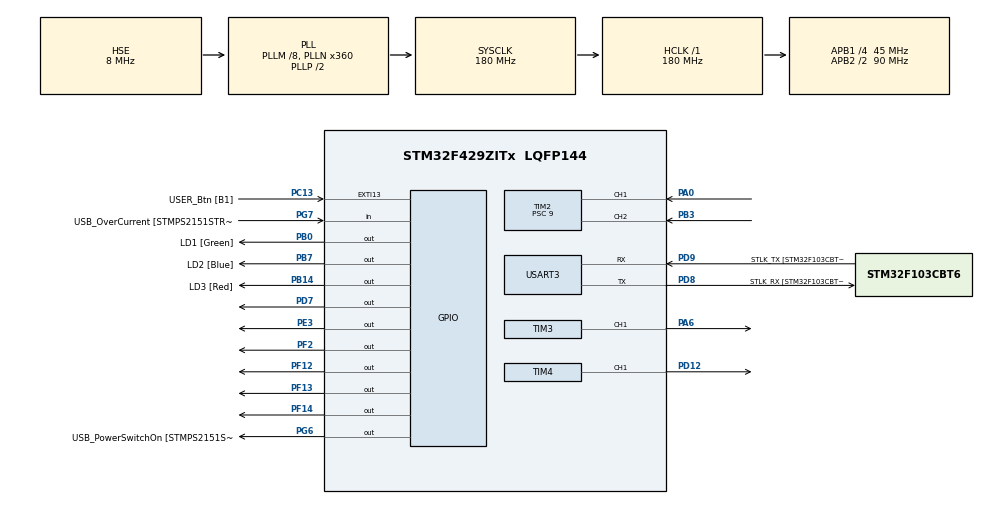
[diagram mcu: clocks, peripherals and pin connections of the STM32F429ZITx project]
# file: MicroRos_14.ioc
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Dma.Request0=USART3_RX
Dma.Request1=USART3_TX
Dma.USART3_RX.0.Direction=DMA_PERIPH_TO_MEMORY
Dma.USART3_RX.0.FIFOMode=DMA_FIFOMODE_DISABLE
Dma.USART3_RX.0.Instance=DMA1_Stream1
Dma.USART3_RX.0.MemDataAlignment=DMA_MDATAALIGN_BYTE
Dma.USART3_RX.0.MemInc=DMA_MINC_ENABLE
Dma.USART3_RX.0.Mode=DMA_CIRCULAR
Dma.USART3_RX.0.PeriphDataAlignment=DMA_PDATAALIGN_BYTE
Dma.USART3_RX.0.PeriphInc=DMA_PINC_DISABLE
Dma.USART3_RX.0.Priority=DMA_PRIORITY_VERY_HIGH
Dma.USART3_TX.1.Direction=DMA_MEMORY_TO_PERIPH
Dma.USART3_TX.1.FIFOMode=DMA_FIFOMODE_DISABLE
Dma.USART3_TX.1.Instance=DMA1_Stream3
Dma.USART3_TX.1.MemDataAlignment=DMA_MDATAALIGN_BYTE
Dma.USART3_TX.1.MemInc=DMA_MINC_ENABLE
Dma.USART3_TX.1.Mode=DMA_NORMAL
Dma.USART3_TX.1.PeriphDataAlignment=DMA_PDATAALIGN_BYTE
Dma.USART3_TX.1.PeriphInc=DMA_PINC_DISABLE
Dma.USART3_TX.1.Priority=DMA_PRIORITY_VERY_HIGH
FREERTOS.Tasks01=defaultTask,24,3000,StartDefaultTask,Default,NULL,Static,defaultTaskBuffer,defaultTaskControlBlock
Mcu.Family=STM32F4
Mcu.Name=STM32F429ZITx
Mcu.Package=LQFP144
NVIC.DMA1_Stream1_IRQn=true\:5\:0\:false\:false\:true\:true\:false\:true\:true
NVIC.DMA1_Stream3_IRQn=true\:5\:0\:false\:false\:true\:true\:false\:true\:true
NVIC.PriorityGroup=NVIC_PRIORITYGROUP_4
NVIC.TIM1_UP_TIM10_IRQn=true\:15\:0\:false\:false\:true\:false\:false\:true\:true
NVIC.TIM2_IRQn=true\:5\:0\:false\:false\:true\:true\:true\:true\:true
NVIC.TIM3_IRQn=true\:5\:0\:false\:false\:true\:true\:true\:true\:true
NVIC.TimeBase=TIM1_UP_TIM10_IRQn
NVIC.TimeBaseIP=TIM1
NVIC.USART3_IRQn=true\:5\:0\:false\:false\:true\:true\:true\:true\:true
PA0/WKUP.Signal=S_TIM2_CH1_ETR
PA1.GPIO_Label=RMII_REF_CLK [LAN8742A-CZ-TR_REFCLK0]
PA1.Signal=ETH_REF_CLK
PA10.GPIO_Label=USB_ID
PA10.Signal=USB_OTG_FS_ID
PA11.GPIO_Label=USB_DM
PA11.Signal=USB_OTG_FS_DM
PA12.GPIO_Label=USB_DP
PA12.Signal=USB_OTG_FS_DP
PA13.GPIO_Label=TMS
PA13.Mode=Serial_Wire
PA13.Signal=SYS_JTMS-SWDIO
PA14.GPIO_Label=TCK
PA14.Mode=Serial_Wire
PA14.Signal=SYS_JTCK-SWCLK
PA2.GPIO_Label=RMII_MDIO [LAN8742A-CZ-TR_MDIO]
PA2.Signal=ETH_MDIO
PA6.Signal=S_TIM3_CH1
PA7.GPIO_Label=RMII_CRS_DV [LAN8742A-CZ-TR_CRS_DV]
PA7.Signal=ETH_CRS_DV
PA8.GPIO_Label=USB_SOF [TP1]
PA8.Signal=USB_OTG_FS_SOF
PA9.GPIO_Label=USB_VBUS
PA9.Signal=USB_OTG_FS_VBUS
PB0.GPIO_Label=LD1 [Green]
PB0.Signal=GPIO_Output
PB13.GPIO_Label=RMII_TXD1 [LAN8742A-CZ-TR_TXD1]
PB13.Signal=ETH_TXD1
PB14.GPIO_Label=LD3 [Red]
PB14.Signal=GPIO_Output
PB3.Signal=S_TIM2_CH2
PB7.GPIO_Label=LD2 [Blue]
PB7.Signal=GPIO_Output
PC1.GPIO_Label=RMII_MDC [LAN8742A-CZ-TR_MDC]
PC1.Signal=ETH_MDC
PC13.GPIO_Label=USER_Btn [B1]
PC13.Signal=GPXTI13
PC14/OSC32_IN.Signal=RCC_OSC32_IN
PC15/OSC32_OUT.Signal=RCC_OSC32_OUT
PC4.GPIO_Label=RMII_RXD0 [LAN8742A-CZ-TR_RXD0]
PC4.Signal=ETH_RXD0
PC5.GPIO_Label=RMII_RXD1 [LAN8742A-CZ-TR_RXD1]
PC5.Signal=ETH_RXD1
PD12.Signal=S_TIM4_CH1
PD7.GPIO_ModeDefaultOutputPP=GPIO_MODE_OUTPUT_PP
PD7.GPIO_PuPd=GPIO_PULLUP
PD7.GPIO_Speed=GPIO_SPEED_FREQ_HIGH
PD7.PinState=GPIO_PIN_RESET
PD7.Signal=GPIO_Output
PD8.GPIO_Label=STLK_RX [STM32F103CBT6_PA3]
PD8.Mode=Asynchronous
PD8.Signal=USART3_TX
PD9.GPIO_Label=STLK_TX [STM32F103CBT6_PA2]
PD9.Mode=Asynchronous
PD9.Signal=USART3_RX
PE3.GPIO_ModeDefaultOutputPP=GPIO_MODE_OUTPUT_PP
PE3.GPIO_PuPd=GPIO_PULLUP
PE3.GPIO_Speed=GPIO_SPEED_FREQ_HIGH
PE3.PinState=GPIO_PIN_RESET
PE3.Signal=GPIO_Output
PF12.GPIO_ModeDefaultOutputPP=GPIO_MODE_OUTPUT_PP
PF12.GPIO_PuPd=GPIO_PULLUP
PF12.GPIO_Speed=GPIO_SPEED_FREQ_HIGH
PF12.PinState=GPIO_PIN_RESET
PF12.Signal=GPIO_Output
PF13.GPIO_ModeDefaultOutputPP=GPIO_MODE_OUTPUT_PP
PF13.GPIO_PuPd=GPIO_PULLUP
PF13.GPIO_Speed=GPIO_SPEED_FREQ_HIGH
PF13.PinState=GPIO_PIN_RESET
PF13.Signal=GPIO_Output
PF14.GPIO_ModeDefaultOutputPP=GPIO_MODE_OUTPUT_PP
PF14.GPIO_PuPd=GPIO_PULLUP
PF14.GPIO_Speed=GPIO_SPEED_FREQ_HIGH
PF14.PinState=GPIO_PIN_RESET
PF14.Signal=GPIO_Output
PF2.GPIO_ModeDefaultOutputPP=GPIO_MODE_OUTPUT_PP
PF2.GPIO_PuPd=GPIO_PULLUP
PF2.GPIO_Speed=GPIO_SPEED_FREQ_HIGH
PF2.PinState=GPIO_PIN_RESET
PF2.Signal=GPIO_Output
PG11.GPIO_Label=RMII_TX_EN [LAN8742A-CZ-TR_TXEN]
PG11.Signal=ETH_TX_EN
PG13.GPIO_Label=RMII_TXD0 [LAN8742A-CZ-TR_TXD0]
PG13.Signal=ETH_TXD0
PG6.GPIO_Label=USB_PowerSwitchOn [STMPS2151STR_EN]
PG6.Signal=GPIO_Output
PG7.GPIO_Label=USB_OverCurrent [STMPS2151STR_FAULT]
PG7.Signal=GPIO_Input
PH0/OSC_IN.GPIO_Label=MCO [STM32F103CBT6_PA8]
PH0/OSC_IN.Mode=HSE-External-Oscillator
PH0/OSC_IN.Signal=RCC_OSC_IN
PH1/OSC_OUT.Mode=HSE-External-Oscillator
PH1/OSC_OUT.Signal=RCC_OSC_OUT
ProjectManager.HeapSize=0x200
ProjectManager.StackSize=0x400
ProjectManager.TargetToolchain=STM32CubeIDE
RCC.48MHZClocksFreq_Value=90000000
RCC.AHBFreq_Value=180000000
RCC.APB1CLKDivider=RCC_HCLK_DIV4
RCC.APB1Freq_Value=45000000
RCC.APB1TimFreq_Value=90000000
RCC.APB2CLKDivider=RCC_HCLK_DIV2
RCC.APB2Freq_Value=90000000
RCC.APB2TimFreq_Value=180000000
RCC.CortexFreq_Value=180000000
RCC.HCLKFreq_Value=180000000
RCC.HSE_VALUE=8000000
RCC.HSI_VALUE=16000000
RCC.LSE_VALUE=32768
RCC.PLLM=8
RCC.PLLMUL=RCC_PLL_MUL9
RCC.PLLN=360
RCC.PLLSourceVirtual=RCC_PLLSOURCE_HSE
RCC.PRESCALERUSB=RCC_USBCLKSOURCE_PLL_DIV1_5
RCC.SYSCLKFreq_VALUE=180000000
RCC.SYSCLKSource=RCC_SYSCLKSOURCE_PLLCLK
RCC.SYSCLKSourceVirtual=RCC_SYSCLKSOURCE_PLLCLK
RCC.USBFreq_Value=48000000
RCC.VCOOutputFreq_Value=360000000
SH.S_TIM2_CH1_ETR.0=TIM2_CH1,Input_Capture1_from_TI1
SH.S_TIM2_CH2.0=TIM2_CH2,Input_Capture2_from_TI2
SH.S_TIM3_CH1.0=TIM3_CH1,PWM Generation1 CH1
SH.S_TIM4_CH1.0=TIM4_CH1,PWM Generation1 CH1
TIM2.Channel-Input_Capture1_from_TI1=TIM_CHANNEL_1
TIM2.Channel-Input_Capture2_from_TI2=TIM_CHANNEL_2
TIM2.Period=100
TIM2.Prescaler=9
TIM3.Channel-PWM\ Generation1\ CH1=TIM_CHANNEL_1
TIM3.Period=99
TIM3.Prescaler=89
TIM3.Pulse-PWM\ Generation1\ CH1=30
TIM4.Channel-PWM\ Generation1\ CH1=TIM_CHANNEL_1
TIM4.Period=99
TIM4.Prescaler=89
TIM4.Pulse-PWM\ Generation1\ CH1=30
TIM9.Period=9999
TIM9.Prescaler=8999
USART3.VirtualMode=VM_ASYNC
VP_FREERTOS_VS_CMSIS_V2.Mode=CMSIS_V2
VP_SYS_VS_tim1.Mode=TIM1
VP_TIM3_VS_ClockSourceINT.Mode=Internal
VP_TIM4_VS_ClockSourceINT.Mode=Internal
VP_TIM9_VS_ClockSourceINT.Mode=Internal
board=NUCLEO-F429ZI

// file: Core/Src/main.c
/* USER CODE BEGIN Header */
/**
  ******************************************************************************
  * @file           : main.c
  * @brief          : Main program body
  ******************************************************************************
  * @attention
  *
  * Copyright (c) 2024 STMicroelectronics.
  * All rights reserved.
  *
  * This software is licensed under terms that can be found in the LICENSE file
  * in the root directory of this software component.
  * If no LICENSE file comes with this software, it is provided AS-IS.
  *
  ******************************************************************************
  */
/* USER CODE END Header */
#include "main.h"
#include "cmsis_os.h"
#include "dma.h"
#include "tim.h"
#include "usart.h"
#include "gpio.h"

/* USER CODE BEGIN PD */

#define TxBufferSize	(countof(TxBuffer) - 1)
#define RxBufferSize	0xFF
#define countof(a)		(sizeof(a) / sizeof(*(a)))

/* USER CODE END PD */

/* USER CODE BEGIN PV */

// asdfasdf
uint8_t TxBuffer[] = "\n\rUART Example 1 (Transmission Success !! )\n\r\n\r";
uint8_t RxBuffer[RxBufferSize];

/*
int m1_hall=0, m2_hall=0;

int m1_rev=0, m2_rev=0;
int m1_deg=0, m2_deg=0;
int m1_deg_10=0, m2_deg_10=0;
int m1_deg_10_p=0, m2_deg_10_p=0;
int m1_deg_1_10=0, m2_deg_1_10=0;
//float m1_deg=0, m2_deg=0;
//float m1_deg_10=0, m2_deg_10=0;
//float m1_deg_1_10=0, m2_deg_1_10=0;
int m1_rpm=0, m2_rpm=0;
int m1_rpm_p=0, m2_rpm_p=0;
int m1_rpm_p_10=0, m2_rpm_p_10=0;

int test_count=0;

int count_sec = 0;
*/

/* USER CODE END PV */

void SystemClock_Config(void);
void MX_FREERTOS_Init(void);
/* USER CODE BEGIN PFP */

void LED_OnOff(int, int);

/* Usart printf() */
#ifdef __cplusplus
extern "C" int _write(int32_t file, uint8_t *ptr, int32_t len) {
#else
int _write(int32_t file, uint8_t *ptr, int32_t len) {
#endif
	if( HAL_UART_Transmit(&huart3, ptr, len, len) == HAL_OK ) return len;
	else return 0;
}

/* USER CODE END PFP */

int main(void)
{

  /* MCU Configuration--------------------------------------------------------*/

  /* Reset of all peripherals, Initializes the Flash interface and the Systick. */
  HAL_Init();

  /* Configure the system clock */
  SystemClock_Config();

  /* Initialize all configured peripherals */
  MX_GPIO_Init();
  MX_DMA_Init();
  MX_USART3_UART_Init();
  MX_TIM2_Init();
  MX_TIM3_Init();
  MX_TIM4_Init();
  MX_TIM9_Init();
  /* USER CODE BEGIN 2 */

//  LED_OnOff(LED_ALL, 500);
  HAL_TIM_Base_Start_IT(&htim9);

  HAL_TIM_Base_Start_IT(&htim3);
  HAL_TIM_PWM_Start(&htim3, TIM_CHANNEL_1);
  HAL_TIM_Base_Start_IT(&htim4);
  HAL_TIM_PWM_Start(&htim4, TIM_CHANNEL_1);

  HAL_TIM_Base_Start_IT(&htim2);
  HAL_TIM_IC_Start_IT(&htim2, TIM_CHANNEL_1);
  HAL_TIM_IC_Start_IT(&htim2, TIM_CHANNEL_2);

  HAL_UART_Transmit(&huart3, (uint8_t*)TxBuffer, TxBufferSize , 0xFFFF);

  HAL_GPIO_WritePin(GPIOF, GPIO_PIN_12, RESET);	// Motor1 DIR - CCW
  HAL_GPIO_WritePin(GPIOF, GPIO_PIN_13, RESET);	// Motor1 RUN/BRK - RUN
  HAL_GPIO_WritePin(GPIOF, GPIO_PIN_14, RESET);	// Motor1 START/STOP - START

  HAL_GPIO_WritePin(GPIOF, GPIO_PIN_2, RESET);	// Motor2 DIR - CCW
  HAL_GPIO_WritePin(GPIOD, GPIO_PIN_7, RESET);	// Motor2 RUN/BRK - RUN
  HAL_GPIO_WritePin(GPIOE, GPIO_PIN_3, RESET);	// Motor2 START/STOP - START

/* Init Settings */
/*	  HAL_GPIO_WritePin(GPIOF, GPIO_PIN_12, SET);	// Motor1 DIR - CW
	  HAL_GPIO_WritePin(GPIOF, GPIO_PIN_13, SET);	// Motor1 RUN/BRK - BRK
	  HAL_GPIO_WritePin(GPIOF, GPIO_PIN_14, SET);	// Motor1 START/STOP - STOP

	  HAL_GPIO_WritePin(GPIOF, GPIO_PIN_2, SET);	// Motor2 DIR - CW
	  HAL_GPIO_WritePin(GPIOD, GPIO_PIN_7, SET);	// Motor2 RUN/BRK - BRK
	  HAL_GPIO_WritePin(GPIOE, GPIO_PIN_3, SET);	// Motor2 START/STOP - STOP
*/
/* First movement */
/*	  HAL_GPIO_WritePin(GPIOF, GPIO_PIN_13, RESET);	// Motor1 RUN/BRK - RUN
  	  HAL_GPIO_WritePin(GPIOF, GPIO_PIN_14, RESET);	// Motor1 START/STOP - START
  	  HAL_GPIO_WritePin(GPIOD, GPIO_PIN_7, RESET);	// Motor2 RUN/BRK - RUN
  	  HAL_GPIO_WritePin(GPIOE, GPIO_PIN_3, RESET);	// Motor2 START/STOP - START

  	  HAL_Delay(5000);

  	  HAL_GPIO_WritePin(GPIOF, GPIO_PIN_13, SET);	// Motor1 RUN/BRK - BRK
  	  HAL_GPIO_WritePin(GPIOD, GPIO_PIN_7, SET);	// Motor2 RUN/BRK - BRK

  	  HAL_Delay(5000);

  	  HAL_GPIO_WritePin(GPIOF, GPIO_PIN_13, RESET);	// Motor1 RUN/BRK - RUN
  	  HAL_GPIO_WritePin(GPIOD, GPIO_PIN_7, RESET);	// Motor2 RUN/BRK - RUN

  	  HAL_Delay(5000);

  	  HAL_GPIO_WritePin(GPIOF, GPIO_PIN_14, SET);	// Motor1 START/STOP - STOP
  	  HAL_GPIO_WritePin(GPIOE, GPIO_PIN_3, SET);	// Motor2 START/STOP - STOP

  	  HAL_Delay(5000);
*/
 /* Second movement */
/*	  HAL_GPIO_WritePin(GPIOF, GPIO_PIN_12, RESET);	// Motor1 DIR - CCW
	  HAL_GPIO_WritePin(GPIOF, GPIO_PIN_2, RESET);	// Motor2 DIR - CCW
	  HAL_GPIO_WritePin(GPIOF, GPIO_PIN_13, RESET);	// Motor1 RUN/BRK - RUN
	  HAL_GPIO_WritePin(GPIOF, GPIO_PIN_14, RESET);	// Motor1 START/STOP - START
	  HAL_GPIO_WritePin(GPIOD, GPIO_PIN_7, RESET);	// Motor2 RUN/BRK - RUN
	  HAL_GPIO_WritePin(GPIOE, GPIO_PIN_3, RESET);	// Motor2 START/STOP - START

	  HAL_Delay(5000);

	  HAL_GPIO_WritePin(GPIOF, GPIO_PIN_13, SET);	// Motor1 RUN/BRK - BRK
	  HAL_GPIO_WritePin(GPIOD, GPIO_PIN_7, SET);	// Motor2 RUN/BRK - BRK

	  HAL_Delay(5000);

	  HAL_GPIO_WritePin(GPIOF, GPIO_PIN_13, RESET);	// Motor1 RUN/BRK - RUN
	  HAL_GPIO_WritePin(GPIOD, GPIO_PIN_7, RESET);	// Motor2 RUN/BRK - RUN

	  HAL_Delay(5000);

	  HAL_GPIO_WritePin(GPIOF, GPIO_PIN_14, SET);	// Motor1 START/STOP - STOP
	  HAL_GPIO_WritePin(GPIOE, GPIO_PIN_3, SET);	// Motor2 START/STOP - STOP

	  HAL_Delay(5000);*/

  /* USER CODE END 2 */

  /* Init scheduler */
  osKernelInitialize();

  /* Call init function for freertos objects (in freertos.c) */
  MX_FREERTOS_Init();

  /* Start scheduler */
  osKernelStart();

  /* We should never get here as control is now taken by the scheduler */
  /* Infinite loop */
  /* USER CODE BEGIN WHILE */
  while (1)
  {
/*
	  HAL_GPIO_WritePin(GPIOF, GPIO_PIN_13, RESET);	// Motor1 RUN/BRK - RUN
	  HAL_GPIO_WritePin(GPIOF, GPIO_PIN_14, RESET);	// Motor1 START/STOP - START
	  HAL_GPIO_WritePin(GPIOD, GPIO_PIN_7, RESET);	// Motor2 RUN/BRK - RUN
	  HAL_GPIO_WritePin(GPIOE, GPIO_PIN_3, RESET);	// Motor2 START/STOP - START

    osDelay(5000);
//	  HAL_Delay(5000);

	  HAL_GPIO_WritePin(GPIOF, GPIO_PIN_13, SET);	// Motor1 RUN/BRK - BRK
	  HAL_GPIO_WritePin(GPIOD, GPIO_PIN_7, SET);	// Motor2 RUN/BRK - BRK

    osDelay(5000);
//	  HAL_Delay(5000);

	  HAL_GPIO_WritePin(GPIOF, GPIO_PIN_13, RESET);	// Motor1 RUN/BRK - RUN
	  HAL_GPIO_WritePin(GPIOD, GPIO_PIN_7, RESET);	// Motor2 RUN/BRK - RUN

    osDelay(5000);
//	  HAL_Delay(5000);

	  HAL_GPIO_WritePin(GPIOF, GPIO_PIN_14, SET);	// Motor1 START/STOP - STOP
	  HAL_GPIO_WritePin(GPIOE, GPIO_PIN_3, SET);	// Motor2 START/STOP - STOP

    osDelay(5000);
//	  HAL_Delay(5000);
*/

/*	  printf("Degree: %d \n", m1_deg); // ?��?��?��?��
	  printf("Revolutions: %d \n", m1_rev);
	  printf("Revolutions per Minute: %d \n", m1_rpm);ddddd
	  printf("\n");*/

/*	  printf("Time: %d \n", count_sec);
	  printf("Hall: %d \n", m1_hall);
	  printf("Degree: %d.%d \n", m1_deg, m1_deg_1_10);
	  printf("Revolutions: %d \n", m1_rev);
	  printf("Revolutions per Minute: %d \n", m1_rpm);
	  printf("\n");

	  HAL_Delay(1000);
*/
    /* USER CODE END WHILE */

  }
}

void SystemClock_Config(void)
{
  RCC_OscInitTypeDef RCC_OscInitStruct = {0};
  RCC_ClkInitTypeDef RCC_ClkInitStruct = {0};

  /** Configure the main internal regulator output voltage
  */
  __HAL_RCC_PWR_CLK_ENABLE();
  __HAL_PWR_VOLTAGESCALING_CONFIG(PWR_REGULATOR_VOLTAGE_SCALE1);

  /** Initializes the RCC Oscillators according to the specified parameters
  * in the RCC_OscInitTypeDef structure.
  */
  RCC_OscInitStruct.OscillatorType = RCC_OSCILLATORTYPE_HSE;
  RCC_OscInitStruct.HSEState = RCC_HSE_ON;
  RCC_OscInitStruct.PLL.PLLState = RCC_PLL_ON;
  RCC_OscInitStruct.PLL.PLLSource = RCC_PLLSOURCE_HSE;
  RCC_OscInitStruct.PLL.PLLM = 8;
  RCC_OscInitStruct.PLL.PLLN = 360;
  RCC_OscInitStruct.PLL.PLLP = RCC_PLLP_DIV2;
  RCC_OscInitStruct.PLL.PLLQ = 4;
  if (HAL_RCC_OscConfig(&RCC_OscInitStruct) != HAL_OK)
  {
    Error_Handler();
  }

  /** Activate the Over-Drive mode
  */
  if (HAL_PWREx_EnableOverDrive() != HAL_OK)
  {
    Error_Handler();
  }

  /** Initializes the CPU, AHB and APB buses clocks
  */
  RCC_ClkInitStruct.ClockType = RCC_CLOCKTYPE_HCLK|RCC_CLOCKTYPE_SYSCLK
                              |RCC_CLOCKTYPE_PCLK1|RCC_CLOCKTYPE_PCLK2;
  RCC_ClkInitStruct.SYSCLKSource = RCC_SYSCLKSOURCE_PLLCLK;
  RCC_ClkInitStruct.AHBCLKDivider = RCC_SYSCLK_DIV1;
  RCC_ClkInitStruct.APB1CLKDivider = RCC_HCLK_DIV4;
  RCC_ClkInitStruct.APB2CLKDivider = RCC_HCLK_DIV2;

  if (HAL_RCC_ClockConfig(&RCC_ClkInitStruct, FLASH_LATENCY_5) != HAL_OK)
  {
    Error_Handler();
  }
}

void HAL_TIM_PeriodElapsedCallback(TIM_HandleTypeDef *htim)
{
  if (htim->Instance == TIM1) {
    HAL_IncTick();
  }
}

void Error_Handler(void)
{
  __disable_irq();
  while (1)
  {
  }
}

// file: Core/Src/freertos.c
/* USER CODE BEGIN Header */
/**
  *********************  *********************************************************
  * File Name          : freertos.c
  * Description        : Code for freertos applications
  ******************************************************************************
  * @attention
  *
  * Copyright (c) 2024 STMicroelectronics.
  * All rights reserved.
  *
  * This software is licensed under terms that can be found in the LICENSE file
  * in the root directory of this software component.
  * If no LICENSE file comes with this software, it is provided AS-IS.
  *
  ******************************************************************************
  */
/* USER CODE END Header */

#include "FreeRTOS.h"
#include "task.h"
#include "main.h"
#include "cmsis_os.h"

/* USER CODE BEGIN Includes */
#include <stdbool.h>
#include <rcl/rcl.h>
#include <rcl/error_handling.h>
#include <rclc/rclc.h>
#include <rclc/executor.h>
#include <uxr/client/transport.h>
#include <rmw_microxrcedds_c/config.h>
#include <rmw_microros/rmw_microros.h>

#include <std_msgs/msg/int32.h>
#include <std_msgs/msg/string.h>

#include "usart.h"
/* USER CODE END Includes */

typedef StaticTask_t osStaticThreadDef_t;

/* USER CODE BEGIN Variables */

char Run_State = 'U';
char Motor_State = 'P';
char Run_Dir = 'F';

int m1_hall=0, m2_hall=0;

int m1_rev=0, m2_rev=0;
int m1_deg=0, m2_deg=0;
int m1_deg_10=0, m2_deg_10=0;
int m1_deg_10_p=0, m2_deg_10_p=0;
int m1_deg_1_10=0, m2_deg_1_10=0;
//float m1_deg=0, m2_deg=0;
//float m1_deg_10=0, m2_deg_10=0;
//float m1_deg_1_10=0, m2_deg_1_10=0;
int m1_rpm=0, m2_rpm=0;
int m1_rpm_p=0, m2_rpm_p=0;
int m1_rpm_p_10=0, m2_rpm_p_10=0;

//std_msgs__msg__Int32 msg;
int hall1 = 0, hall2 = 0;

int count_sec = 0;

/* USER CODE END Variables */
/* Definitions for defaultTask */
osThreadId_t defaultTaskHandle;
uint32_t defaultTaskBuffer[ 3000 ];
osStaticThreadDef_t defaultTaskControlBlock;
const osThreadAttr_t defaultTask_attributes = {
  .name = "defaultTask",
  .cb_mem = &defaultTaskControlBlock,
  .cb_size = sizeof(defaultTaskControlBlock),
  .stack_mem = &defaultTaskBuffer[0],
  .stack_size = sizeof(defaultTaskBuffer),
  .priority = (osPriority_t) osPriorityNormal,
};

/* USER CODE BEGIN FunctionPrototypes */
bool cubemx_transport_open(struct uxrCustomTransport * transport);
bool cubemx_transport_close(struct uxrCustomTransport * transport);
size_t cubemx_transport_write(struct uxrCustomTransport* transport, const uint8_t * buf, size_t len, uint8_t * err);
size_t cubemx_transport_read(struct uxrCustomTransport* transport, uint8_t* buf, size_t len, int timeout, uint8_t* err);

void * microros_allocate(size_t size, void * state);
void microros_deallocate(void * pointer, void * state);
void * microros_reallocate(void * pointer, size_t size, void * state);
void * microros_zero_allocate(size_t number_of_elements, size_t size_of_element, void * state);

void messageCallback(const void *msgin);
void messageCallback_test1(const void *msgin);
void messageCallback_test2(const void *msgin);

//my motor functions
void RUN_DIR(char);
void RUN_RB(char);
void MOTOR_SS(char);

/* USER CODE END FunctionPrototypes */

void StartDefaultTask(void *argument);

void MX_FREERTOS_Init(void); /* (MISRA C 2004 rule 8.1) */

void MX_FREERTOS_Init(void) {

  /* Create the thread(s) */
  /* creation of defaultTask */
  defaultTaskHandle = osThreadNew(StartDefaultTask, NULL, &defaultTask_attributes);

}

void StartDefaultTask(void *argument)
{
  /* USER CODE BEGIN StartDefaultTask */
  /* USER CODE BEGIN 5 */

  // micro-ROS configuration

  rmw_uros_set_custom_transport(
    true,
    (void *) &huart3,
    cubemx_transport_open,
    cubemx_transport_close,
    cubemx_transport_write,
    cubemx_transport_read);

  rcl_allocator_t freeRTOS_allocator = rcutils_get_zero_initialized_allocator();
  freeRTOS_allocator.allocate = microros_allocate;
  freeRTOS_allocator.deallocate = microros_deallocate;
  freeRTOS_allocator.reallocate = microros_reallocate;
  freeRTOS_allocator.zero_allocate =  microros_zero_allocate;

  if (!rcutils_set_default_allocator(&freeRTOS_allocator)) {
      printf("Error on default allocators (line %d)\n", __LINE__);
  }

  // micro-ROS app

  rcl_publisher_t publisher;
  std_msgs__msg__Int32 msg;
//test
  rcl_publisher_t publisher_test;
  std_msgs__msg__Int32_test1 msg_test;

  rcl_subscription_t subscriber_test1;
  std_msgs__msg__Int32_test2 submsg_test1;

  rcl_subscription_t subscriber_test2;
  std_msgs__msg__Int32_test3 submsg_test2;
//
  rcl_publisher_t publisher_1;
  std_msgs__msg__Int32_pub1 pubmsg_1;

  rcl_publisher_t publisher_2;
  std_msgs__msg__Int32_pub2 pubmsg_2;

  rcl_subscription_t subscriber_1;
  std_msgs__msg__String_sub1 submsg_1;

  rclc_support_t support;
  rcl_allocator_t allocator;
  rcl_node_t node;

  allocator = rcl_get_default_allocator();

  //create init_options
  rclc_support_init(&support, 0, NULL, &allocator);

  // create node
  rclc_node_init_default(&node, "cubemx_node", "", &support);

  // create publisher example
  rclc_publisher_init_default(
    &publisher,
    &node,
    ROSIDL_GET_MSG_TYPE_SUPPORT(std_msgs, msg, Int32),
    "cubemx_publisher");
  	 // l_wheel_vel
  // create publisher_2
  rclc_publisher_init_default(
    &publisher_1,
    &node,
    ROSIDL_GET_MSG_TYPE_SUPPORT(std_msgs, msg, Int32),
    "l_enc");
  	  // r_wheel_vel
  // create publisher_3
  rclc_publisher_init_default(
    &publisher_2,
    &node,
    ROSIDL_GET_MSG_TYPE_SUPPORT(std_msgs, msg, Int32),
    "r_enc");
  	  //l_enc
  // create publisher_test
  rclc_publisher_init_default(
    &publisher_test,
    &node,
    ROSIDL_GET_MSG_TYPE_SUPPORT(std_msgs, msg, Int32),
    "cubemx_publisher_test");

  // create subscriber_test1
  rclc_subscription_init_default(
      &subscriber_test1,
      &node,
      ROSIDL_GET_MSG_TYPE_SUPPORT(std_msgs, msg, Int32),
//	    "cubemx_publisher_test");
        "l_wheel_vel");

  // create subscriber_test2
  rclc_subscription_init_default(
      &subscriber_test2,
      &node,
      ROSIDL_GET_MSG_TYPE_SUPPORT(std_msgs, msg, Int32),
//	    "cubemx_publisher_test");
        "r_wheel_vel");

  // create subscriber
  rclc_subscription_init_default(
      &subscriber_1,
      &node,
      ROSIDL_GET_MSG_TYPE_SUPPORT(std_msgs, msg, String),
      "r_wheel_vel_String");

  // add subscriber to executor
  rclc_executor_t executor;
  rclc_executor_init(&executor, &support.context, 1, &allocator);
  rclc_executor_add_subscription(&executor, &subscriber_1, &submsg_1, &messageCallback, ON_NEW_DATA);

  rclc_executor_add_subscription(&executor, &subscriber_test1, &submsg_test1, &messageCallback_test1, ON_NEW_DATA);
  rclc_executor_add_subscription(&executor, &subscriber_test2, &submsg_test2, &messageCallback_test2, ON_NEW_DATA);

  msg.data = 0;
  pubmsg_1.hall_1 = 0;

  for(;;)
  {
    // publish message
    rcl_ret_t ret = rcl_publish(&publisher, &msg, NULL);
    rcl_ret_t ret_2 = rcl_publish(&publisher_1, &pubmsg_1, NULL);
    rcl_ret_t ret_3 = rcl_publish(&publisher_2, &pubmsg_2, NULL);
//    rcl_ret_t ret = rcl_publish(&publisher, &msg, NULL);
    rcl_ret_t ret_test = rcl_publish(&publisher_test, &msg_test, NULL);
    if (ret != RCL_RET_OK)
    {
      printf("Error publishing (line %d)\n", __LINE__);
    }
//    msg.data++;

    // Motor Controll
/*    HAL_GPIO_WritePin(GPIOF, GPIO_PIN_12, RESET);	// Motor1 DIR - CCW
    HAL_GPIO_WritePin(GPIOF, GPIO_PIN_13, RESET);	// Motor1 RUN/BRK - RUN
    HAL_GPIO_WritePin(GPIOF, GPIO_PIN_14, RESET);	// Motor1 START/STOP - START

    HAL_GPIO_WritePin(GPIOF, GPIO_PIN_2, SET);	// Motor2 DIR - CW
    HAL_GPIO_WritePin(GPIOD, GPIO_PIN_7, RESET);	// Motor2 RUN/BRK - RUN
    HAL_GPIO_WritePin(GPIOE, GPIO_PIN_3, RESET);	// Motor2 START/STOP - START
*/

//    msg.data = abc;
    /*
	msg.hall_1 = hall1;
	msg.hall_2 = hall2;
*/

	pubmsg_1.hall_1 = hall1;
	pubmsg_2.hall_2 = hall2;

/*
    if(msg.data < 1000){
    	Run_Dir = 'F';
    	Run_State = 'U';
    }
    else if((msg.data >= 1000)&&(msg.data <= 2000)){
    	Run_State = 'B';
    }
    else if((msg.data >= 2000)&&(msg.data <= 3000)){
    	Run_Dir = 'O';
    	Run_State = 'U';
    }
*/
/*
    if(msg.hall_1 < 1000){
    	Run_Dir = 'F';
    	Run_State = 'U';
    }
    else if((msg.hall_1 >= 1000)&&(msg.hall_1 <= 2000)){
    	Run_State = 'B';
    }
    else if((msg.hall_1 >= 2000)&&(msg.hall_1 <= 3000)){
    	Run_Dir = 'O';
    	Run_State = 'U';
    }
*/
/*
    if(msg.hall_2 < 1000){
    	Run_Dir = 'F';
    	Run_State = 'U';
    }
    else if((msg.hall_2 >= 1000)&&(msg.hall_2 <= 2000)){
    	Run_State = 'B';
    }
    else if((msg.hall_2 >= 2000)&&(msg.hall_2 <= 3000)){
    	Run_Dir = 'O';
    	Run_State = 'U';
    }
*/
/*
    if(msg_2.hall_1 < 1000){
    	Run_Dir = 'F';
    	Run_State = 'U';
    }
    else if((msg_2.hall_1 >= 1000)&&(msg_2.hall_1 <= 2000)){
    	Run_State = 'B';
    }
    else if((msg_2.hall_1 >= 2000)&&(msg_2.hall_1 <= 3000)){
    	Run_Dir = 'O';
    	Run_State = 'U';
    }
*/
    RUN_DIR(Run_Dir);
    RUN_RB(Run_State);

        osDelay(10);
      }
  /* USER CODE END StartDefaultTask */
}

/* USER CODE BEGIN Application */

	// 기본 ?��?��(default task) ?��?��?�� 구독 콜백 ?��?��
	void messageCallback(const void *msgin) {
		const std_msgs__msg__String_sub1 *msg = (const std_msgs__msg__String_sub1 *)msgin;
		printf("Received: %s\n", msg->dir_1);

	}

	void messageCallback_test1(const void *msgin) {
		const std_msgs__msg__Int32_test2 *msg = (const std_msgs__msg__Int32_test2 *)msgin;
		printf("Recieved: %d\n", msg->test_2);

	}

	void messageCallback_test2(const void *msgin) {
		const std_msgs__msg__Int32_test3 *msg = (const std_msgs__msg__Int32_test3 *)msgin;
		printf("Recieved: %d\n", msg->test_3);

	}

	// Motor function
	void RUN_INIT(void){
		  HAL_GPIO_WritePin(GPIOF, GPIO_PIN_13, SET);	// Motor1 RUN/BRK - BRK
		  HAL_GPIO_WritePin(GPIOF, GPIO_PIN_14, SET);	// Motor1 START/STOP - STOP
	  	  HAL_GPIO_WritePin(GPIOD, GPIO_PIN_7, SET);	// Motor2 RUN/BRK - BRK
	  	  HAL_GPIO_WritePin(GPIOE, GPIO_PIN_3, SET);	// Motor2 START/STOP - STOP
	}

	void RUN_DIR(char dir){

		if(dir == 'F'){			// Front
			HAL_GPIO_WritePin(GPIOF, GPIO_PIN_12, SET);		// Motor1 DIR - CW
		    HAL_GPIO_WritePin(GPIOF, GPIO_PIN_2, RESET);	// Motor2 DIR - CCW
		}
		else if(dir == 'O'){	// Back
			HAL_GPIO_WritePin(GPIOF, GPIO_PIN_12, RESET);		// Motor1 DIR - CCW
		    HAL_GPIO_WritePin(GPIOF, GPIO_PIN_2, SET);	// Motor2 DIR - CW
		}
		else if(dir == 'L'){	// Left
			HAL_GPIO_WritePin(GPIOF, GPIO_PIN_12, SET);		// Motor1 DIR - CW
		    HAL_GPIO_WritePin(GPIOF, GPIO_PIN_2, SET);	// Motor2 DIR - CCW
		}
		else if(dir == 'R'){	// Right
			HAL_GPIO_WritePin(GPIOF, GPIO_PIN_12, RESET);		// Motor1 DIR - CW
		    HAL_GPIO_WritePin(GPIOF, GPIO_PIN_2, RESET);	// Motor2 DIR - CCW
		}
	}

	void RUN_RB(char runstate){

		if(runstate == 'U'){
			HAL_GPIO_WritePin(GPIOF, GPIO_PIN_13, RESET);	// Motor1 RUN/BRK - RUN
			HAL_GPIO_WritePin(GPIOD, GPIO_PIN_7, RESET);	// Motor2 RUN/BRK - RUN
		}
		else if(runstate == 'B'){
		  	  HAL_GPIO_WritePin(GPIOF, GPIO_PIN_13, SET);	// Motor1 RUN/BRK - BRK
		  	  HAL_GPIO_WritePin(GPIOD, GPIO_PIN_7, SET);	// Motor2 RUN/BRK - BRK
		}
	}

	void MOTOR_SS(char motorstate){

		if(motorstate == 'T'){
		    HAL_GPIO_WritePin(GPIOF, GPIO_PIN_14, RESET);	// Motor1 START/STOP - START
		    HAL_GPIO_WritePin(GPIOE, GPIO_PIN_3, RESET);	// Motor2 START/STOP - START
		}
		else if(motorstate == 'P'){
		  	  HAL_GPIO_WritePin(GPIOF, GPIO_PIN_14, SET);	// Motor1 START/STOP - STOP
		  	  HAL_GPIO_WritePin(GPIOE, GPIO_PIN_3, SET);	// Motor2 START/STOP - STOP
		}
	}

	void HAL_TIM_IC_CaptureCallback(TIM_HandleTypeDef *htim)
	{
		if ( htim->Instance == TIM2){
			if(htim->Channel == HAL_TIM_ACTIVE_CHANNEL_1)
			{
				hall1 = hall1 + 1;

				/*
				m1_deg_10 = m1_hall * 15;
				m1_deg = m1_deg_10 / 10;
				m1_deg_1_10 = m1_deg_10 % 10;

				m1_rpm = (m1_deg_10 - m1_deg_10_p) * 60 / (1 * 10);

				m1_deg_10_p = m1_deg_10;
	*/

/*
				if(m1_hall==240)
				{
					m1_hall = 0;

	//				m1_deg++;

					m1_rev++;
				}
*/

	/*		  	printf("%d \n", m1_deg);
				printf("%d \n", m1_rev);
				printf("\n");*/
			}

			if(htim->Channel == HAL_TIM_ACTIVE_CHANNEL_2)
			{
				hall2 = hall2 + 1;
			}

		}

	}

/* USER CODE END Application */
